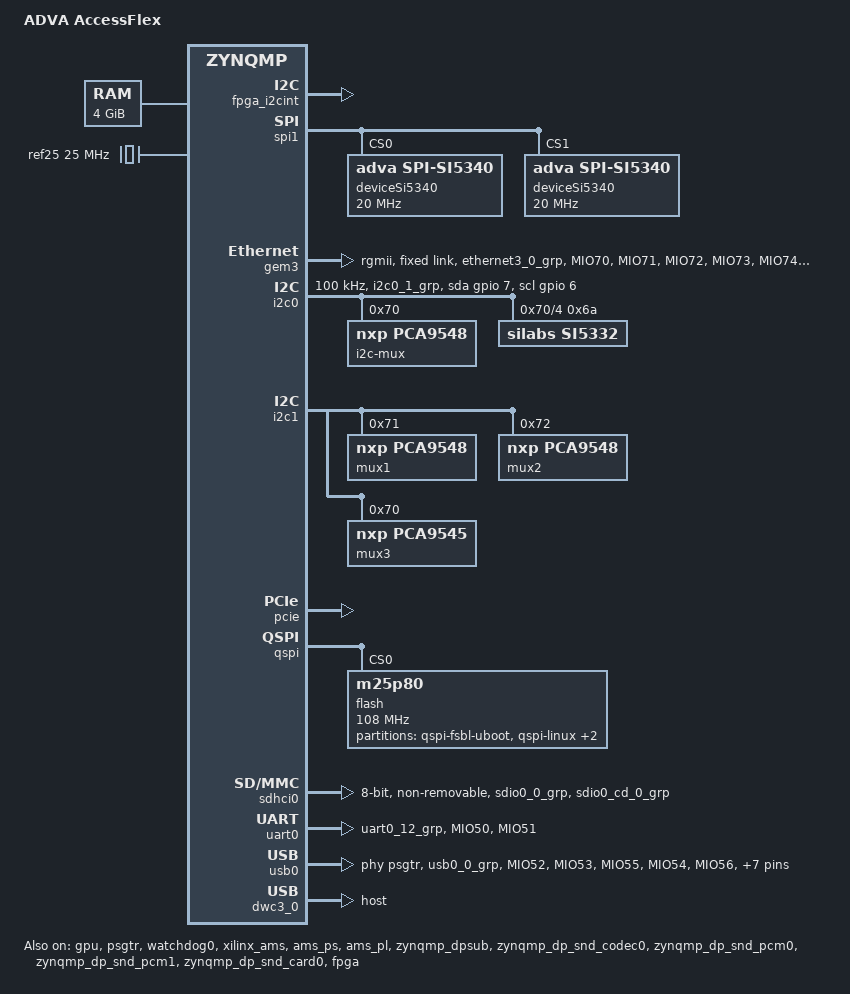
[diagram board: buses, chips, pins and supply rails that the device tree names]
// SPDX-License-Identifier: GPL-2.0+
/*
 * dts file for Xilinx ZynqMP ZCU102 RevA
 *
 * (C) Copyright 2015 - 2021, Xilinx, Inc.
 *
 * Michal Simek <michal.simek@xilinx.com>
 */

/dts-v1/;

#include "zynqmp.dtsi"
#include "zynqmp-clk-ccf.dtsi"
#include <dt-bindings/input/input.h>
#include <dt-bindings/gpio/gpio.h>
#include <dt-bindings/pinctrl/pinctrl-zynqmp.h>
#include <dt-bindings/phy/phy.h>

/ {
	model = "ADVA AccessFlex";
	compatible = "xlnx,zynqmp-zcu102-revA", "xlnx,zynqmp-zcu102", "xlnx,zynqmp";

	aliases {
		ethernet0 = &gem3;
		i2c0 = &i2c0;
		i2c1 = &i2c1;
		mmc0 = &sdhci0;
		rtc0 = &ext_rtc;
		serial0 = &uart0;
		spi0 = &qspi;
		usb0 = &usb0;
	};

	chosen {
		bootargs = "earlycon";
		stdout-path = "serial0:115200n8";
	};

	memory@0 {
		device_type = "memory";
		reg = <0x0 0x0 0x0 0x80000000>, <0x8 0x00000000 0x0 0x80000000>;
	};

	/* 25MHz reference crystal for Si5332 clock generator */
	ref25: ref25M {
		compatible = "fixed-clock";
		#clock-cells = <0>;
		clock-frequency = <25000000>;
	};
};

/* XCZU15EG-1FFVC900I4934 has only two ARM Cortex-A53 cores */
/delete-node/ &cpu2;
/delete-node/ &cpu3;

&amba
{
    /* board CPLD */
	/* UIO for board cpld interrupts, IRQ48, triggered low */
	uio_cpld: uio_cpld {
		compatible = "uio_pdrv_genirq";
		interrupt-parent = <&gic>;
		interrupts = <0x0 16 0x4>;
		status = "okay";
	};

    /* IRQ2 for FPGA IRQ0 */
    /* FPGA programming space */
    /* FPGA non-I2C interrupt space */
    fpga_config: fpga_config@20000 {
        reg = <0x1 0x20000 0x10000>;
        compatible = "uio_pdrv_genirq";
        interrupt-parent = <&gic>;
        interrupts = <0x0 165 0x1>;
    };

    /* IRQ3 for FPGA IRQ1 */
    fpga_i2cint: fpga_i2cint@20000 {
        compatible = "uio_pdrv_genirq";
        interrupt-parent = <&gic>;
        interrupts = <0x0 167 0x1>;
    };

    /* Main FPGA register memory mapped space */
	fpga: fpga@400000000 {
		compatible = "uio_pdrv_genirq";
		reg = <0x4 0x0 0x0 0xA00000>;
		name = "fpga";
		status = "okay";
	};
};

/* AccessFlex uses 50MHz PS reference clock instead of 33.33MHz */
&pss_ref_clk {
	clock-frequency = <50000000>;
};

&spi1 {
	status = "okay";

    deviceSi5340@0 {
        compatible = "adva,spi-si5340";
        spi-max-frequency = <20000000>;
        reg = <0>;  // chip select - SPI_CSn0
    };

    deviceSi5340@1 {
        compatible = "adva,spi-si5340";
        spi-max-frequency = <20000000>;
        reg = <1>; // chip select - SPI_CSn1
    };
};

&fpd_dma_chan1 {
	status = "okay";
};

&fpd_dma_chan2 {
	status = "okay";
};

&fpd_dma_chan3 {
	status = "okay";
};

&fpd_dma_chan4 {
	status = "okay";
};

&fpd_dma_chan5 {
	status = "okay";
};

&fpd_dma_chan6 {
	status = "okay";
};

&fpd_dma_chan7 {
	status = "okay";
};

&fpd_dma_chan8 {
	status = "okay";
};

&gem3 {
	status = "okay";
	phy-mode = "rgmii";
	pinctrl-names = "default";
	pinctrl-0 = <&pinctrl_gem3_default>;
	fixed-link {
		speed = <1000>;
		full-duplex;
	};
	mdio3: mdio {
	};
};

&gpu {
	status = "okay";
};

&i2c0 {
	status = "okay";
	clock-frequency = <100000>;
	pinctrl-names = "default";
	pinctrl-0 = <&pinctrl_i2c0_default>;
	scl-gpios = <&gpio 6 GPIO_ACTIVE_HIGH>;
	sda-gpios = <&gpio 7 GPIO_ACTIVE_HIGH>;

	i2c-mux@70 { 
		compatible = "nxp,pca9548";
		#address-cells = <1>;
		#size-cells = <0>;
		reg = <0x70>;
		i2c@0 {
			#address-cells = <1>;
			#size-cells = <0>;
			reg = <0>;
		};
		i2c@1 {
			#address-cells = <1>;
			#size-cells = <0>;
			reg = <1>;
		};
		i2c@2 {
			#address-cells = <1>;
			#size-cells = <0>;
			reg = <2>;
		};
		i2c@3 {
			#address-cells = <1>;
			#size-cells = <0>;
			reg = <3>;
		};
		i2c@4 {
			#address-cells = <1>;
			#size-cells = <0>;
			reg = <4>;
			si5332: clock-generator@6a {
				compatible = "silabs,si5332";
				reg = <0x6a>;
				#clock-cells = <2>;
				#address-cells = <1>;
				#size-cells = <0>;
				clocks = <&ref25>;
				clock-names = "xtal";
				clock-output-names = "si5332";

				si5332_0: out@0 {
					/* SATA_CLK150M_GTR */
					reg = <0>;
					always-on;
				};
				si5332_1: out@1 {
					/* PCIE_CLK100M_GTR */
					reg = <1>;
					always-on;
				};
				si5332_2: out@2 {
					/* CLK_100M_PCIE */
					reg = <2>;
					always-on;
				};
				si5332_4: out@4 {
					/* PS_REFCLK_50M */
					reg = <4>;
					always-on;
				};
				si5332_5: out@5 {
					/* L2SW_25M_REF_CLK */
					reg = <5>;
					always-on;
				};
				si5332_7: out@7 {
					/* FPGA_80M_REFCLK */
					reg = <7>;
					always-on;
				};
			};
		};
		i2c@5 {
			#address-cells = <1>;
			#size-cells = <0>;
			reg = <5>;
		};
		i2c@6 {
			#address-cells = <1>;
			#size-cells = <0>;
			reg = <6>;
		};
		i2c@7 {
			#address-cells = <1>;
			#size-cells = <0>;
			reg = <7>;
		};
	};
};

&i2c1 {
    status = "okay";
    /*gpios = <&gpio1 27 2*/    /* SCL - open drain, active low */
    /*&gpio1 26 2>; */ /* SDA - driven, active high */

    mux1@71 {
        compatible = "nxp,pca9548";
        reg = <0x71>;
        #address-cells = <1>;
        #size-cells = <0>;
        i2c-mux-idle-disconnect;

        channel0@0 {
            #address-cells = <1>;
            #size-cells = <0>;
            reg = <0x0>;
        };
        channel1@1 {
            #address-cells = <1>;
            #size-cells = <0>;
            reg = <0x1>;
        };
        channel2@2 {
            #address-cells = <1>;
            #size-cells = <0>;
            reg = <0x2>;
        };
        channel3@3 {
            #address-cells = <1>;
            #size-cells = <0>;
            reg = <0x3>;
        };
        channel4@4 {
            #address-cells = <1>;
            #size-cells = <0>;
            reg = <0x4>;
        };
        channel5@5 {
            #address-cells = <1>;
            #size-cells = <0>;
            reg = <0x5>;
        };
        channel6@6 {
            #address-cells = <1>;
            #size-cells = <0>;
            reg = <0x6>;
        };
        channel7@7 {
            #address-cells = <1>;
            #size-cells = <0>;
            reg = <0x7>;
        };
    };

    mux2@72 {
        compatible = "nxp,pca9548";
        reg = <0x72>;
        #address-cells = <1>;
        #size-cells = <0>;
        i2c-mux-idle-disconnect;

        channel0@0 {
            #address-cells = <1>;
            #size-cells = <0>;
            reg = <0x0>;
        };
        channel1@1 {
            #address-cells = <1>;
            #size-cells = <0>;
            reg = <0x1>;
        };
        channel2@2 {
            #address-cells = <1>;
            #size-cells = <0>;
            reg = <0x2>;
        };
        channel3@3 {
            #address-cells = <1>;
            #size-cells = <0>;
            reg = <0x3>;
        };
        channel4@4 {
            #address-cells = <1>;
            #size-cells = <0>;
            reg = <0x4>;
        };
        channel5@5 {
            #address-cells = <1>;
            #size-cells = <0>;
            reg = <0x5>;
        };
        channel6@6 {
            #address-cells = <1>;
            #size-cells = <0>;
            reg = <0x6>;
        };
        channel7@7 {
            #address-cells = <1>;
            #size-cells = <0>;
            reg = <0x7>;
        };
    };

    mux3@70 {
        compatible = "nxp,pca9545";
        reg = <0x70>;
        #address-cells = <1>;
        #size-cells = <0>;
        i2c-mux-idle-disconnect;

        channel0@0 {
            #address-cells = <1>;
            #size-cells = <0>;
            reg = <0x0>;
        };
        channel1@1 {
            #address-cells = <1>;
            #size-cells = <0>;
            reg = <0x1>;
        };
        channel2@2 {
            #address-cells = <1>;
            #size-cells = <0>;
            reg = <0x2>;
        };
        channel3@3 {
            #address-cells = <1>;
            #size-cells = <0>;
            reg = <0x3>;
        };
    };
};

&pinctrl0 {
	status = "okay";
	pinctrl_i2c0_default: i2c0-default {
		mux {
			groups = "i2c0_1_grp";
			function = "i2c0";
		};

		conf {
			groups = "i2c0_1_grp";
			bias-pull-up;
			slew-rate = <SLEW_RATE_FAST>;
			io-standard = <IO_STANDARD_LVCMOS18>;
		};
	};

	pinctrl_i2c1_default: i2c1-default {
		mux {
			groups = "i2c1_10_grp";
			function = "i2c1";
		};

		conf {
			groups = "i2c1_10_grp";
			bias-pull-up;
			slew-rate = <SLEW_RATE_FAST>;
			io-standard = <IO_STANDARD_LVCMOS18>;
		};
	};

	pinctrl_uart0_default: uart0-default {
		mux {
			groups = "uart0_12_grp";
			function = "uart0";
		};

		conf {
			groups = "uart0_12_grp";
			slew-rate = <SLEW_RATE_FAST>;
			io-standard = <IO_STANDARD_LVCMOS18>;
		};

		conf-rx {
			pins = "MIO50";
			bias-high-impedance;
		};

		conf-tx {
			pins = "MIO51";
			bias-disable;
		};
	};

	pinctrl_usb0_default: usb0-default {
		mux {
			groups = "usb0_0_grp";
			function = "usb0";
		};

		conf {
			groups = "usb0_0_grp";
			slew-rate = <SLEW_RATE_SLOW>;
			power-source = <IO_STANDARD_LVCMOS18>;
		};

		conf-rx {
			pins = "MIO52", "MIO53", "MIO55";
			bias-high-impedance;
		};

		conf-tx {
			pins = "MIO54", "MIO56", "MIO57", "MIO58", "MIO59",
					"MIO60", "MIO61", "MIO62", "MIO63";
			bias-disable;
		};
	};

	pinctrl_gem3_default: gem3-default {
		mux {
			function = "ethernet3";
			groups = "ethernet3_0_grp";
		};

		conf {
			groups = "ethernet3_0_grp";
			slew-rate = <SLEW_RATE_SLOW>;
			power-source = <IO_STANDARD_LVCMOS18>;
		};

		conf-rx {
			pins = "MIO70", "MIO71", "MIO72", "MIO73", "MIO74",
									"MIO75";
			bias-high-impedance;
			low-power-disable;
		};

		conf-tx {
			pins = "MIO64", "MIO65", "MIO66", "MIO67", "MIO68",
									"MIO69";
			bias-disable;
			low-power-enable;
		};

		mux-mdio {
			function = "mdio3";
			groups = "mdio3_0_grp";
		};

		conf-mdio {
			groups = "mdio3_0_grp";
			slew-rate = <SLEW_RATE_SLOW>;
			power-source = <IO_STANDARD_LVCMOS18>;
			bias-disable;
		};
	};

	pinctrl_sdhci0_default: sdhci0-default {
		mux {
			groups = "sdio0_0_grp";
			function = "sdio0";
		};
 
		conf {
			groups = "sdio0_0_grp";
			slew-rate = <SLEW_RATE_SLOW>;
			io-standard = <IO_STANDARD_LVCMOS18>;
			bias-disable;
		};
 
		mux-cd {
			groups = "sdio0_cd_0_grp";
			function = "sdio0_cd";
		};
 
		conf-cd {
			groups = "sdio0_cd_0_grp";
			bias-high-impedance;
			bias-pull-up;
			slew-rate = <SLEW_RATE_SLOW>;
			io-standard = <IO_STANDARD_LVCMOS18>;
		};
	};
};

&pcie {
	status = "okay";
};

&psgtr {
	status = "okay";
	/* TODO: pcie, sata, usb3, dp */
	clocks = <&si5332 0 1>, <&si5332 0 0>;
	clock-names = "ref0", "ref1";
};

&qspi {
	status = "okay";
	is-dual = <1>;
	flash@0 {
		compatible = "m25p80", "jedec,spi-nor"; /* 32MB */
		#address-cells = <1>;
		#size-cells = <1>;
		reg = <0x0>;
		spi-tx-bus-width = <4>;
		spi-rx-bus-width = <4>; /* FIXME also DUAL configuration possible */
		spi-max-frequency = <108000000>; /* Based on DC1 spec */
		partition@0 { /* for testing purpose */
			label = "qspi-fsbl-uboot";
			reg = <0x0 0x100000>;
		};
		partition@100000 { /* for testing purpose */
			label = "qspi-linux";
			reg = <0x100000 0x500000>;
		};
		partition@600000 { /* for testing purpose */
			label = "qspi-device-tree";
			reg = <0x600000 0x20000>;
		};
		partition@620000 { /* for testing purpose */
			label = "qspi-rootfs";
			reg = <0x620000 0x5E0000>;
		};
	};
};

&sdhci0 {
	status = "okay";
	pinctrl-names = "default";
	pinctrl-0 = <&pinctrl_sdhci0_default>;
	xlnx,mio_bank = <0>;
	disable-wp;
	non-removable;
	bus-width = <8>;
};

&uart0 {
	status = "okay";
	pinctrl-names = "default";
	pinctrl-0 = <&pinctrl_uart0_default>;
};

/* ULPI SMSC USB3320 */
&usb0 {
	status = "okay";
	pinctrl-names = "default";
	pinctrl-0 = <&pinctrl_usb0_default>;
	phy-names = "usb3-phy";
	phys = <&psgtr 2 PHY_TYPE_USB3 0 2>;
};

&dwc3_0 {
	status = "okay";
	dr_mode = "host";
	snps,usb3_lpm_capable;
	maximum-speed = "super-speed";
};

&watchdog0 {
	status = "okay";
};

&xilinx_ams {
	status = "okay";
};

&ams_ps {
	status = "okay";
};

&ams_pl {
	status = "okay";
};

&zynqmp_dpdma {
	status = "okay";
};

&zynqmp_dpsub {
	status = "okay";
	phy-names = "dp-phy0";
	phys = <&psgtr 1 PHY_TYPE_DP 0 3>;
};

&zynqmp_dp_snd_codec0 {
	status = "okay";
};

&zynqmp_dp_snd_pcm0 {
	status = "okay";
};

&zynqmp_dp_snd_pcm1 {
	status = "okay";
};

&zynqmp_dp_snd_card0 {
	status = "okay";
};
